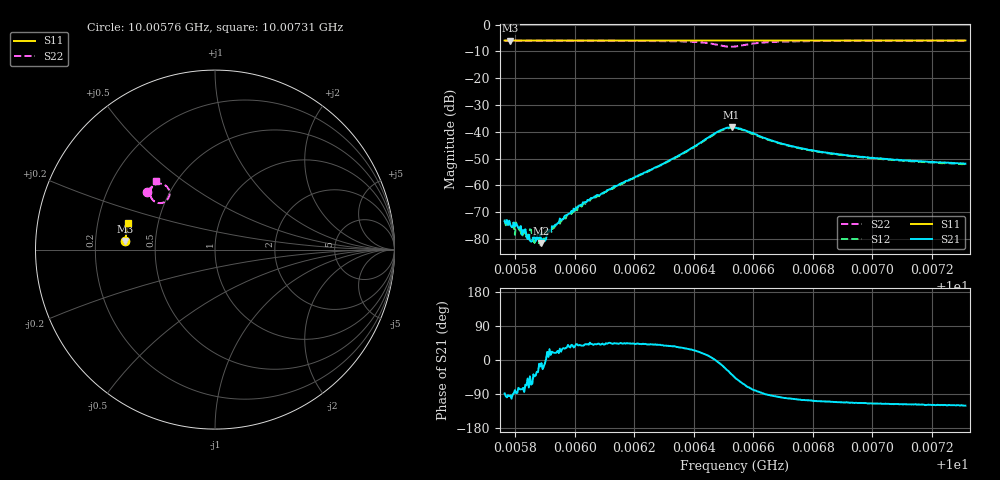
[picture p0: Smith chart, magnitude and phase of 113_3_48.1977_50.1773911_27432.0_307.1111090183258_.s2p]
#  HZ  S  RI  R  50.00
! Rohde & Schwarz Vector Network Analyzer
! Rohde-Schwarz,ZNB20-2Port,1311601062101988,3.16
! Created: UTC 3/20/2024, 11:41:05 AM
! freq[Hz]  re:S11  im:S11  re:S21  im:S21  re:S12  im:S12  re:S22  im:S22
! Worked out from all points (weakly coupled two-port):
!   401 points, 10.00576 GHz to 10.00731 GHz, reference 50 ohm
!   highest |S21| = -38.35 dB at 10.00653 GHz (marker M1); lowest = -81.5 dB at 10.00589 GHz (marker M2)
!   lowest |S11| = -6.0 dB at 10.00578 GHz (marker M3), VSWR 3.01, Z = 16.7 + j2.16 ohm
!   |S11| at or under -10 dB: nowhere
!   |S22| runs from -8.3 to -6.0 dB; largest |S21 - S12| = 0.00087
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1.0005765e10  -0.4989 0.0472  7.29e-06 -0.000214  -1.15e-05 -0.000232  -0.3783 0.3233
1.0005784e10  -0.4987 0.0486  -1.19e-05 -0.000182  7.03e-06 -0.000182  -0.3772 0.3246
1.0005792e10  -0.4987 0.0489  -2.29e-06 -0.000164  -6.61e-06 -0.000197  -0.3769 0.325
1.0005811e10  -0.4987 0.0502  4.52e-05 -0.000153  4.51e-05 -0.00015  -0.3759 0.3262
1.0005819e10  -0.4987 0.0508  3.78e-05 -0.00017  4.91e-05 -0.000127  -0.3755 0.3267
1.0005831e10  -0.4986 0.0516  1.35e-05 -0.000131  3.54e-05 -0.000125  -0.375 0.3275
1.000585e10  -0.4985 0.0528  6.84e-05 -6.4e-05  9.73e-05 -0.000117  -0.3739 0.3286
1.0005865e10  -0.4984 0.0539  8.17e-05 -7.69e-05  6.52e-05 -5.34e-05  -0.3731 0.3295
1.0005889e10  -0.4982 0.0554  8.34e-05 -1.19e-05  0.000135 -1.16e-05  -0.3717 0.3312
1.0005896e10  -0.4982 0.056  9.22e-05 -2.9e-05  8.92e-05 -4.52e-06  -0.3712 0.3317
1.0005931e10  -0.498 0.0581  0.000163 5.6e-05  0.000159 2.13e-05  -0.3692 0.3339
1.000597e10  -0.4978 0.0607  0.000235 0.000143  0.000186 0.000152  -0.367 0.3365
1.0006024e10  -0.4976 0.0642  0.000336 0.000262  0.000291 0.000278  -0.3633 0.3403
1.000614e10  -0.4967 0.0717  0.000707 0.000676  0.000655 0.00071  -0.3542 0.3489
1.0006283e10  -0.4954 0.0811  0.00176 0.00147  0.00167 0.00153  -0.336 0.3609
1.0006481e10  -0.4927 0.0936  0.00997 -0.00085  0.00973 -0.000323  -0.2556 0.3298
1.0006527e10  -0.4922 0.0959  0.00957 -0.00739  0.00969 -0.00675  -0.2721 0.2715
1.0006539e10  -0.4923 0.0965  0.00818 -0.00865  0.00869 -0.008  -0.2861 0.2629
1.0006624e10  -0.492 0.1018  0.000652 -0.00817  0.00098 -0.00794  -0.3548 0.2883
1.0006798e10  -0.4904 0.1131  -0.00135 -0.0043  -0.00113 -0.00425  -0.3566 0.3373
1.0007057e10  -0.4867 0.1297  -0.00134 -0.00275  -0.00116 -0.00277  -0.3409 0.3634
1.0007313e10  -0.4827 0.1456  -0.00128 -0.00219  -0.00115 -0.00222  -0.3269 0.3794
